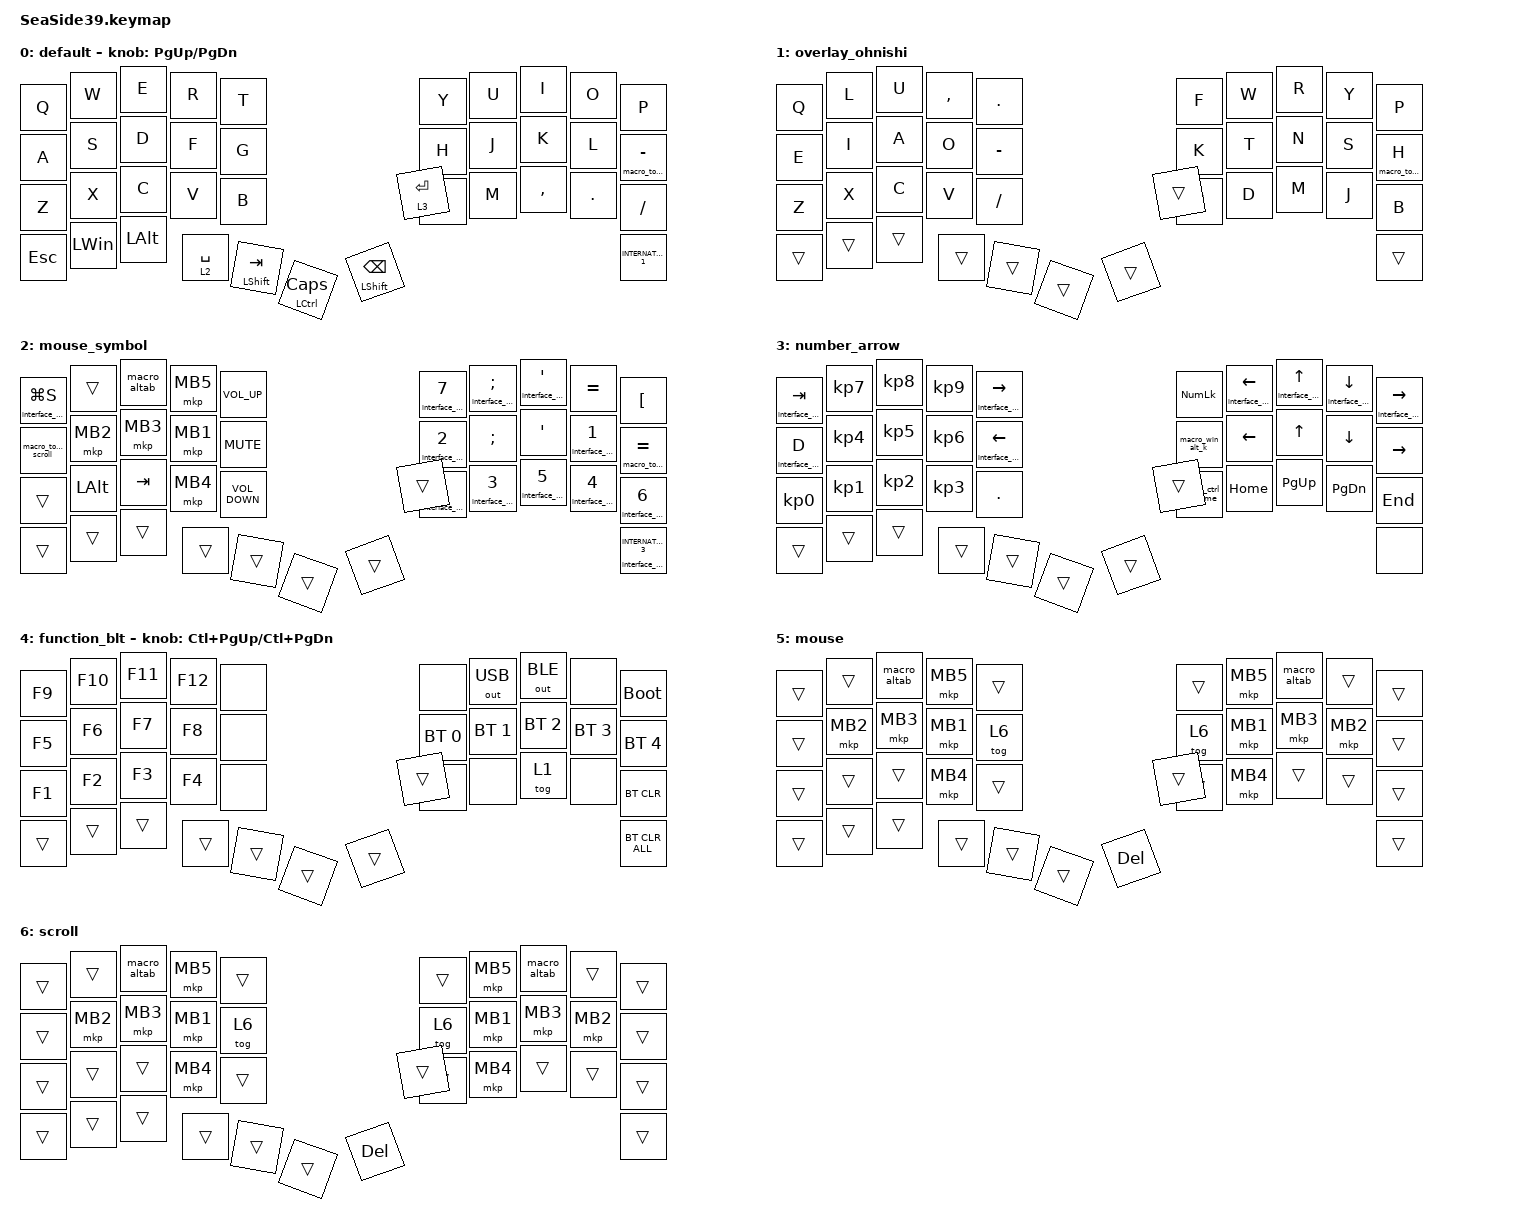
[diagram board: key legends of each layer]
#include <behaviors.dtsi>
#include <dt-bindings/zmk/bt.h>
#include <dt-bindings/zmk/keys.h>
#include <dt-bindings/zmk/outputs.h>
#include <dt-bindings/zmk/pointing.h>

#define MOUSE 4
#define SCROLL 5
#define NUM 6

&mt {
    flavor = "balanced";
    quick-tap-ms = <165>;
    tapping-term-ms = <170>;
};

&lt {
    flavor = "balanced";
    quick-tap-ms = <165>;
    tapping-term-ms = <170>;
};

/ {
    combos {
        compatible = "zmk,combos";

        combo_lang1 {
            bindings = <&kp INTERNATIONAL_5>;
            key-positions = <13 12>;
            layers = <0 1>;
        };

        combo_lang2 {
            bindings = <&kp INTERNATIONAL_4>;
            key-positions = <16 17>;
            layers = <0 1>;
        };

        combo_square_bracket_left {
            bindings = <&kp RIGHT_BRACKET>;
            key-positions = <2 3>;
            layers = <0 1>;
        };

        combo_square_bracket_right {
            bindings = <&kp NUHS>;
            key-positions = <7 6>;
            layers = <0 1>;
        };

        combo_parenthess_left {
            bindings = <&interface_shift N8>;
            key-positions = <23 22>;
            layers = <0 1>;
        };

        combo_parenthess_right {
            bindings = <&interface_shift N9>;
            key-positions = <26 27>;
            layers = <0 1>;
        };

        combo_curly_bracket_left {
            bindings = <&interface_shift RIGHT_BRACKET>;
            key-positions = <3 2>;
            layers = <2>;
        };

        combo_curly_bracket_right {
            bindings = <&interface_shift NUHS>;
            key-positions = <7 6>;
            layers = <2>;
        };

        combo_angle_braket_left {
            bindings = <&interface_shift COMMA>;
            key-positions = <23 22>;
            layers = <2>;
        };

        combo_angle_braket_right {
            bindings = <&interface_shift PERIOD>;
            key-positions = <27 26>;
            layers = <2>;
        };
    };

    macros {
        to_layer_0: to_layer_0 {
            compatible = "zmk,behavior-macro-one-param";
            #binding-cells = <1>;
            bindings = <&to 0 &macro_param_1to1 &kp MACRO_PLACEHOLDER>;
            label = "TO_LAYER_0";
        };

        interface_shift: interface_shift {
            compatible = "zmk,behavior-macro-one-param";
            #binding-cells = <1>;
            bindings =
                <&macro_press>,
                <&kp LEFT_SHIFT>,
                <&macro_tap>,
                <&macro_param_1to1 &kp MACRO_PLACEHOLDER>,
                <&macro_release>,
                <&kp LEFT_SHIFT>;

            label = "INTERFACES_SHIFT";
        };

        interface_ctrl: interface_ctrl {
            compatible = "zmk,behavior-macro-one-param";
            #binding-cells = <1>;
            bindings =
                <&macro_press>,
                <&kp LCTRL>,
                <&macro_tap>,
                <&macro_param_1to1 &kp MACRO_PLACEHOLDER>,
                <&macro_release>,
                <&kp LCTRL>;

            label = "INTERFACE_CTRL";
        };

        macro_altab: macro_altab {
            compatible = "zmk,behavior-macro";
            #binding-cells = <0>;
            bindings =
                <&macro_press>,
                <&kp LEFT_ALT &kp LCTRL>,
                <&macro_tap>,
                <&kp TAB>,
                <&macro_release>,
                <&kp LEFT_ALT &kp LCTRL>;

            label = "MACRO_ALTAB";
        };

        macro_toggle_scroll: macro_toggle_scroll {
            compatible = "zmk,behavior-macro";
            #binding-cells = <0>;
            bindings =
                <&macro_press>,
                <&mo 5 &mo 6>,
                <&macro_pause_for_release>,
                <&macro_release>,
                <&mo 5 &mo 6>;
        };

        macro_ctrl_alt_home: macro_ctrl_alt_home {
            compatible = "zmk,behavior-macro";
            #binding-cells = <0>;
            bindings =
                <&macro_press>,
                <&kp LCTRL &kp LEFT_ALT>,
                <&macro_tap>,
                <&kp HOME>,
                <&macro_release>,
                <&kp LCTRL &kp LEFT_ALT>;

            label = "MACRO_CTRL_ALT_HOME";
        };

        macro_win_alt_k: macro_win_alt_k {
            compatible = "zmk,behavior-macro";
            #binding-cells = <0>;
            bindings =
                <&macro_press>,
                <&kp LEFT_WIN &kp LEFT_ALT>,
                <&macro_tap>,
                <&kp K>,
                <&macro_release>,
                <&kp LEFT_WIN &kp LEFT_ALT>;

            label = "MACRO_WIN_ALT_K";
        };

        interface_ctrl_win: interface_ctrl_win {
            compatible = "zmk,behavior-macro-one-param";
            #binding-cells = <1>;
            bindings =
                <&macro_press>,
                <&kp LCTRL &kp LEFT_WIN>,
                <&macro_tap>,
                <&macro_param_1to1 &kp MACRO_PLACEHOLDER>,
                <&macro_release>,
                <&kp LCTRL &kp LEFT_WIN>;

            label = "INTERFACE_CTRL_WIN";
        };

        interface_win: interface_win {
            compatible = "zmk,behavior-macro-one-param";
            #binding-cells = <1>;
            bindings =
                <&macro_press>,
                <&kp LEFT_WIN>,
                <&macro_tap>,
                <&macro_param_1to1 &kp MACRO_PLACEHOLDER>,
                <&macro_release>,
                <&kp LEFT_WIN>;

            label = "INTERFACE_WIN";
        };
    };

    behaviors {
        lt_to_layer_0: lt_to_layer_0 {
            compatible = "zmk,behavior-hold-tap";
            label = "LAYER_TAP_TO_0";
            bindings = <&mo>, <&to_layer_0>;

            #binding-cells = <2>;
            tapping-term-ms = <200>;
        };

        interface_layer_shift: interface_layer_shift {
            compatible = "zmk,behavior-hold-tap";
            label = "INTERFACE_LAYER_SHIFT";
            bindings = <&mo>, <&interface_shift>;

            #binding-cells = <2>;
            tapping-term-ms = <170>;
            flavor = "balanced";
        };

        interface_toggle_scroll: interface_toggle_scroll {
            compatible = "zmk,behavior-hold-tap";
            #binding-cells = <2>;
            flavor = "hold-preferred";
            tapping-term-ms = <170>;
            bindings = <&macro_toggle_scroll>, <&kp>;
        };

        interface_shift_toggle_scroll: interface_shift_toggle_scroll {
            compatible = "zmk,behavior-hold-tap";
            label = "LAYER_TAP_SIMULTANEOUS_SHIFT";
            #binding-cells = <2>;
            flavor = "balanced";
            tapping-term-ms = <170>;
            bindings = <&macro_toggle_scroll>, <&interface_shift>;
        };
    };

    keymap {
        compatible = "zmk,keymap";

        default {
            bindings = <
&kp Q       &kp W         &kp E         &kp R        &kp T                                                                 &kp Y        &kp U  &kp I      &kp O    &kp P
&kp A       &kp S         &kp D         &kp F        &kp G                                                                 &kp H        &kp J  &kp K      &kp L    &interface_toggle_scroll 0 MINUS
&kp Z       &kp X         &kp C         &kp V        &kp B                                                                 &kp N        &kp M  &kp COMMA  &kp DOT  &kp SLASH
&kp ESCAPE  &kp LEFT_WIN  &kp LEFT_ALT  &lt 2 SPACE  &mt LEFT_SHIFT TAB  &mt LCTRL CAPSLOCK      &mt LEFT_SHIFT BACKSPACE  &lt 3 ENTER                             &kp INTERNATIONAL_1
            >;

            sensor-bindings = <&inc_dec_kp PG_UP PAGE_DOWN>;
        };

        overlay_ohnishi {
            bindings = <
&kp Q   &kp L   &kp U   &kp COMMA  &kp DOT                        &kp F   &kp W  &kp R  &kp Y  &kp P
&kp E   &kp I   &kp A   &kp O      &kp MINUS                      &kp K   &kp T  &kp N  &kp S  &interface_toggle_scroll 0 H
&kp Z   &kp X   &kp C   &kp V      &kp SLASH                      &kp G   &kp D  &kp M  &kp J  &kp B
&trans  &trans  &trans  &trans     &trans     &trans      &trans  &trans                       &trans
            >;
        };

        mouse_symbol {
            bindings = <
&interface_shift LG(S)  &trans        &macro_altab  &mkp MB5  &kp C_VOLUME_UP                        &interface_shift N7            &interface_shift SEMICOLON  &interface_shift SQT  &kp EQUAL                  &kp LEFT_BRACKET
&macro_toggle_scroll    &mkp MB2      &mkp MB3      &mkp MB1  &kp C_MUTE                             &interface_shift NUMBER_2      &kp SEMICOLON               &kp SQT               &interface_shift NUMBER_1  &interface_shift_toggle_scroll 0 EQUAL
&trans                  &kp LEFT_ALT  &kp TAB       &mkp MB4  &kp C_VOLUME_DOWN                      &interface_shift LEFT_BRACKET  &interface_shift NUMBER_3   &interface_shift N5   &interface_shift NUMBER_4  &interface_shift NUMBER_6
&trans                  &trans        &trans        &trans    &trans             &trans      &trans  &trans                                                                                                      &interface_shift INTERNATIONAL_3
            >;
        };

        number_arrow {
            bindings = <
&interface_win TAB  &kp KP_N7  &kp KP_N8  &kp KP_N9  &interface_ctrl_win RIGHT                      &kp KP_NUMLOCK        &interface_ctrl LEFT  &interface_ctrl UP  &interface_ctrl DOWN  &interface_ctrl RIGHT
&interface_win D    &kp KP_N4  &kp KP_N5  &kp KP_N6  &interface_ctrl_win LEFT                       &macro_win_alt_k      &kp LEFT              &kp UP              &kp DOWN              &kp RIGHT
&kp KP_N0           &kp KP_N1  &kp KP_N2  &kp KP_N3  &kp PERIOD                                     &macro_ctrl_alt_home  &kp HOME              &kp PAGE_UP         &kp PAGE_DOWN         &kp END
&trans              &trans     &trans     &trans     &trans                     &trans      &trans  &trans                                                                                &none
            >;
        };

        function_blt {
            bindings = <
&kp F9  &kp F10  &kp F11  &kp F12  &none                       &none         &out OUT_USB  &out OUT_BLE  &none         &bootloader
&kp F5  &kp F6   &kp F7   &kp F8   &none                       &bt BT_SEL 0  &bt BT_SEL 1  &bt BT_SEL 2  &bt BT_SEL 3  &bt BT_SEL 4
&kp F1  &kp F2   &kp F3   &kp F4   &none                       &none         &none         &tog 1        &none         &bt BT_CLR
&trans  &trans   &trans   &trans   &trans  &trans      &trans  &trans                                                  &bt BT_CLR_ALL
            >;

            sensor-bindings = <&inc_dec_kp LC(PAGE_UP) LC(PAGE_DOWN)>;
        };

        mouse {
            bindings = <
&trans  &trans    &macro_altab  &mkp MB5  &trans                          &trans  &mkp MB5  &macro_altab  &trans    &trans
&trans  &mkp MB2  &mkp MB3      &mkp MB1  &tog 6                          &tog 6  &mkp MB1  &mkp MB3      &mkp MB2  &trans
&trans  &trans    &trans        &mkp MB4  &trans                          &trans  &mkp MB4  &trans        &trans    &trans
&trans  &trans    &trans        &trans    &trans  &trans      &kp DELETE  &trans                                    &trans
            >;
        };

        scroll {
            bindings = <
&trans  &trans    &macro_altab  &mkp MB5  &trans                          &trans  &mkp MB5  &macro_altab  &trans    &trans
&trans  &mkp MB2  &mkp MB3      &mkp MB1  &tog 6                          &tog 6  &mkp MB1  &mkp MB3      &mkp MB2  &trans
&trans  &trans    &trans        &mkp MB4  &trans                          &trans  &mkp MB4  &trans        &trans    &trans
&trans  &trans    &trans        &trans    &trans  &trans      &kp DELETE  &trans                                    &trans
            >;
        };
    };

    conditional_layers {
        compatible = "zmk,conditional-layers";

        blt_layer {
            if-layers = <2 3>;
            then-layer = <4>;
        };
    };
};
